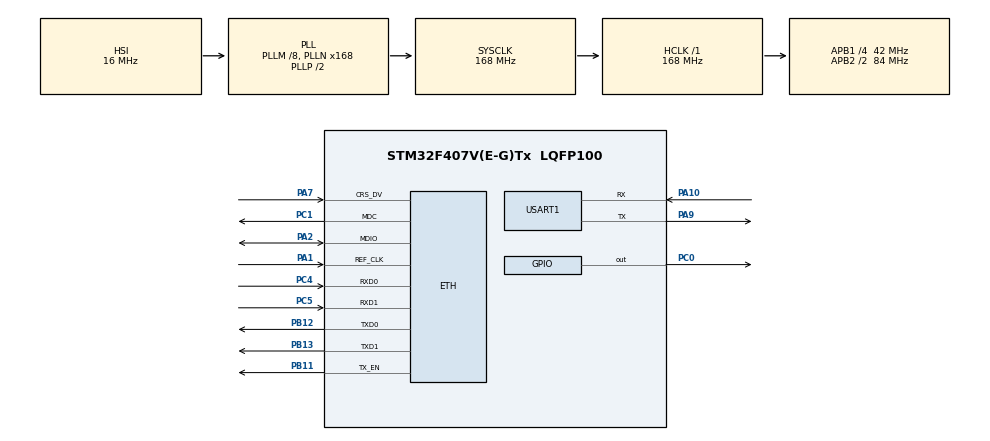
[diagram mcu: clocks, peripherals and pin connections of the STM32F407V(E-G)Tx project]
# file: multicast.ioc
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Dma.Request0=USART1_RX
Dma.Request1=USART1_TX
Dma.USART1_RX.0.Direction=DMA_PERIPH_TO_MEMORY
Dma.USART1_RX.0.FIFOMode=DMA_FIFOMODE_DISABLE
Dma.USART1_RX.0.Instance=DMA2_Stream2
Dma.USART1_RX.0.MemDataAlignment=DMA_MDATAALIGN_BYTE
Dma.USART1_RX.0.MemInc=DMA_MINC_ENABLE
Dma.USART1_RX.0.Mode=DMA_NORMAL
Dma.USART1_RX.0.PeriphDataAlignment=DMA_PDATAALIGN_BYTE
Dma.USART1_RX.0.PeriphInc=DMA_PINC_DISABLE
Dma.USART1_RX.0.Priority=DMA_PRIORITY_LOW
Dma.USART1_TX.1.Direction=DMA_MEMORY_TO_PERIPH
Dma.USART1_TX.1.FIFOMode=DMA_FIFOMODE_DISABLE
Dma.USART1_TX.1.Instance=DMA2_Stream7
Dma.USART1_TX.1.MemDataAlignment=DMA_MDATAALIGN_BYTE
Dma.USART1_TX.1.MemInc=DMA_MINC_ENABLE
Dma.USART1_TX.1.Mode=DMA_NORMAL
Dma.USART1_TX.1.PeriphDataAlignment=DMA_PDATAALIGN_BYTE
Dma.USART1_TX.1.PeriphInc=DMA_PINC_DISABLE
Dma.USART1_TX.1.Priority=DMA_PRIORITY_LOW
ETH.MediaInterface=HAL_ETH_RMII_MODE
LWIP.BSP.number=1
LWIP.GATEWAY_ADDRESS=192.168.088.001
LWIP.IP_ADDRESS=192.168.088.010
LWIP.LWIP_DHCP=0
LWIP.LWIP_IGMP=1
LWIP.LWIP_MULTICAST_TX_OPTIONS=1
LWIP.NETMASK_ADDRESS=255.255.255.000
LWIP.Version=v2.1.2_Cube
LWIP0.BSP.STBoard=false
LWIP0.BSP.api=BSP_COMPONENT_DRIVER
LWIP0.BSP.component=LAN8742
LWIP0.BSP.instance=LAN8742
LWIP0.BSP.name=Driver_PHY
LWIP0.BSP.semaphore=S_LAN8742
LWIP0.BSP.solution=LAN8742
Mcu.Family=STM32F4
Mcu.Name=STM32F407V(E-G)Tx
Mcu.Package=LQFP100
NVIC.DMA2_Stream2_IRQn=true\:0\:0\:false\:false\:true\:false\:true\:true
NVIC.DMA2_Stream7_IRQn=true\:0\:0\:false\:false\:true\:false\:true\:true
NVIC.ETH_IRQn=true\:0\:0\:false\:false\:true\:true\:true\:true
NVIC.PriorityGroup=NVIC_PRIORITYGROUP_4
NVIC.TIM1_UP_TIM10_IRQn=true\:15\:0\:false\:false\:true\:false\:true\:true
NVIC.TimeBase=TIM1_UP_TIM10_IRQn
NVIC.TimeBaseIP=TIM1
NVIC.USART1_IRQn=true\:0\:0\:false\:false\:true\:false\:true\:true
PA1.Mode=RMII
PA1.Signal=ETH_REF_CLK
PA10.Mode=Asynchronous
PA10.Signal=USART1_RX
PA13.Mode=Serial_Wire
PA13.Signal=SYS_JTMS-SWDIO
PA14.Mode=Serial_Wire
PA14.Signal=SYS_JTCK-SWCLK
PA2.Mode=RMII
PA2.Signal=ETH_MDIO
PA7.Mode=RMII
PA7.Signal=ETH_CRS_DV
PA9.Mode=Asynchronous
PA9.Signal=USART1_TX
PB11.Mode=RMII
PB11.Signal=ETH_TX_EN
PB12.Mode=RMII
PB12.Signal=ETH_TXD0
PB13.Mode=RMII
PB13.Signal=ETH_TXD1
PC0.PinState=GPIO_PIN_SET
PC0.Signal=GPIO_Output
PC1.Mode=RMII
PC1.Signal=ETH_MDC
PC4.Mode=RMII
PC4.Signal=ETH_RXD0
PC5.Mode=RMII
PC5.Signal=ETH_RXD1
ProjectManager.HeapSize=0x200
ProjectManager.StackSize=0x400
ProjectManager.TargetToolchain=EWARM V8.50
RCC.48MHZClocksFreq_Value=84000000
RCC.AHBFreq_Value=168000000
RCC.APB1CLKDivider=RCC_HCLK_DIV4
RCC.APB1Freq_Value=42000000
RCC.APB1TimFreq_Value=84000000
RCC.APB2CLKDivider=RCC_HCLK_DIV2
RCC.APB2Freq_Value=84000000
RCC.APB2TimFreq_Value=168000000
RCC.CortexFreq_Value=168000000
RCC.HCLKFreq_Value=168000000
RCC.HSE_VALUE=25000000
RCC.HSI_VALUE=16000000
RCC.LSE_VALUE=32768
RCC.PLLM=8
RCC.PLLN=168
RCC.SYSCLKFreq_VALUE=168000000
RCC.SYSCLKSource=RCC_SYSCLKSOURCE_PLLCLK
RCC.VCOOutputFreq_Value=336000000
USART1.VirtualMode=VM_ASYNC
VP_LWIP_VS_Enabled.Mode=Enabled
VP_SYS_VS_tim1.Mode=TIM1
board=custom

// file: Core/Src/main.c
/* USER CODE BEGIN Header */
/**
  ******************************************************************************
  * @file           : main.c
  * @brief          : Main program body
  ******************************************************************************
  * @attention
  *
  * Copyright (c) 2025 STMicroelectronics.
  * All rights reserved.
  *
  * This software is licensed under terms that can be found in the LICENSE file
  * in the root directory of this software component.
  * If no LICENSE file comes with this software, it is provided AS-IS.
  *
  ******************************************************************************
  */
/* USER CODE END Header */
#include "main.h"
#include "dma.h"
#include "lwip.h"
#include "usart.h"
#include "gpio.h"

/* USER CODE BEGIN Includes */
#include <string.h>
#include "lwip/udp.h"
#include "lwip/igmp.h"
/* USER CODE END Includes */

void SystemClock_Config(void);

/* USER CODE BEGIN 0 */
// 定义组播地址和端口
u16_t multicast_port=8554;
uint8_t multicast_ip[4]={226,0,0,80};

void multicast_receive_callback(void *arg, struct udp_pcb *pcb, struct pbuf *p, const ip_addr_t *addr, u16_t port) {
    if (p != NULL) {
        static uint8_t buff[128];
        memcpy(buff, p->payload, p->len);
        HAL_UART_Transmit_DMA(&huart1, (uint8_t *)&buff, p->len);
        pbuf_free(p);
    }
}

// 初始化MULTICAST接收协议控制块
void multicast_receive_init(void) {
    struct udp_pcb *pcb;
    ip4_addr_t ip;

    IP4_ADDR(&ip, multicast_ip[0], multicast_ip[1], multicast_ip[2], multicast_ip[3]);
    igmp_joingroup(IP4_ADDR_ANY, &ip);
    pcb = udp_new();
    pcb->so_options |= SOF_REUSEADDR; // 允许地址重用
//    pcb->mcast_ttl   = 1;            // 组播TTL（默认1，限制在本地网络）
    if (pcb != NULL) {
        udp_bind(pcb, IP4_ADDR_ANY, multicast_port);
        udp_recv(pcb, multicast_receive_callback, NULL);
    }
}
/* USER CODE END 0 */

int main(void)
{

  /* MCU Configuration--------------------------------------------------------*/

  /* Reset of all peripherals, Initializes the Flash interface and the Systick. */
  HAL_Init();

  /* Configure the system clock */
  SystemClock_Config();

  /* Initialize all configured peripherals */
  MX_GPIO_Init();
  MX_DMA_Init();
  MX_USART1_UART_Init();
  MX_LWIP_Init();
  /* USER CODE BEGIN 2 */
  multicast_receive_init();
  /* USER CODE END 2 */

  /* Infinite loop */
  /* USER CODE BEGIN WHILE */
  while (1)
  {
      MX_LWIP_Process();
      /* USER CODE END WHILE */

  }
}

void SystemClock_Config(void)
{
  RCC_OscInitTypeDef RCC_OscInitStruct = {0};
  RCC_ClkInitTypeDef RCC_ClkInitStruct = {0};

  /** Configure the main internal regulator output voltage
  */
  __HAL_RCC_PWR_CLK_ENABLE();
  __HAL_PWR_VOLTAGESCALING_CONFIG(PWR_REGULATOR_VOLTAGE_SCALE1);

  /** Initializes the RCC Oscillators according to the specified parameters
  * in the RCC_OscInitTypeDef structure.
  */
  RCC_OscInitStruct.OscillatorType = RCC_OSCILLATORTYPE_HSI;
  RCC_OscInitStruct.HSIState = RCC_HSI_ON;
  RCC_OscInitStruct.HSICalibrationValue = RCC_HSICALIBRATION_DEFAULT;
  RCC_OscInitStruct.PLL.PLLState = RCC_PLL_ON;
  RCC_OscInitStruct.PLL.PLLSource = RCC_PLLSOURCE_HSI;
  RCC_OscInitStruct.PLL.PLLM = 8;
  RCC_OscInitStruct.PLL.PLLN = 168;
  RCC_OscInitStruct.PLL.PLLP = RCC_PLLP_DIV2;
  RCC_OscInitStruct.PLL.PLLQ = 4;
  if (HAL_RCC_OscConfig(&RCC_OscInitStruct) != HAL_OK)
  {
    Error_Handler();
  }

  /** Initializes the CPU, AHB and APB buses clocks
  */
  RCC_ClkInitStruct.ClockType = RCC_CLOCKTYPE_HCLK|RCC_CLOCKTYPE_SYSCLK
                              |RCC_CLOCKTYPE_PCLK1|RCC_CLOCKTYPE_PCLK2;
  RCC_ClkInitStruct.SYSCLKSource = RCC_SYSCLKSOURCE_PLLCLK;
  RCC_ClkInitStruct.AHBCLKDivider = RCC_SYSCLK_DIV1;
  RCC_ClkInitStruct.APB1CLKDivider = RCC_HCLK_DIV4;
  RCC_ClkInitStruct.APB2CLKDivider = RCC_HCLK_DIV2;

  if (HAL_RCC_ClockConfig(&RCC_ClkInitStruct, FLASH_LATENCY_5) != HAL_OK)
  {
    Error_Handler();
  }
}

void HAL_TIM_PeriodElapsedCallback(TIM_HandleTypeDef *htim)
{
  if (htim->Instance == TIM1) {
    HAL_IncTick();
  }
}

void Error_Handler(void)
{
  __disable_irq();
  while (1)
  {
  }
}
